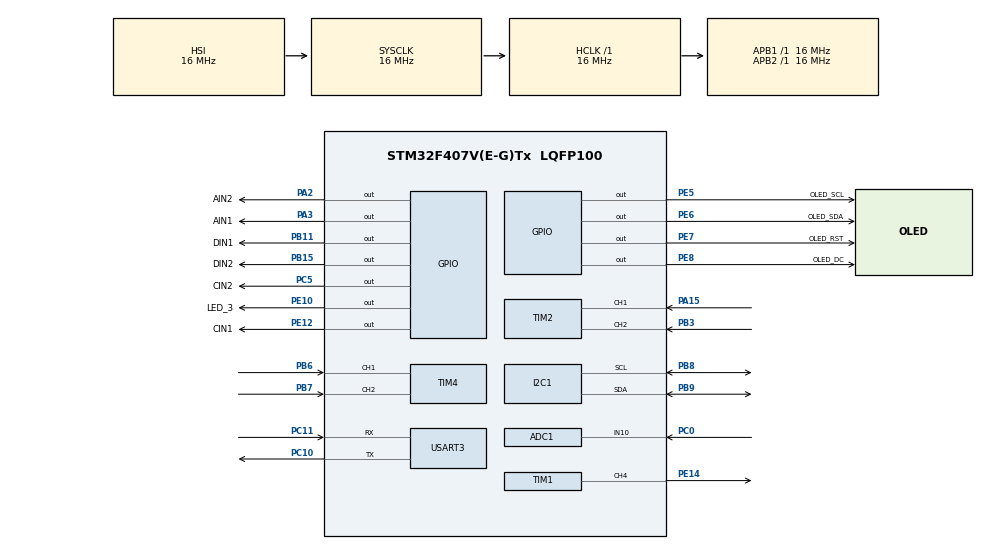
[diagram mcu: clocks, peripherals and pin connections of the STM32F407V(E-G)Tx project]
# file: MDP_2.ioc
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ADC1.Channel-0\#ChannelRegularConversion=ADC_CHANNEL_10
ADC1.NbrOfConversionFlag=1
ADC1.master=1
Dma.ADC1.0.Direction=DMA_PERIPH_TO_MEMORY
Dma.ADC1.0.FIFOMode=DMA_FIFOMODE_DISABLE
Dma.ADC1.0.Instance=DMA2_Stream0
Dma.ADC1.0.MemDataAlignment=DMA_MDATAALIGN_HALFWORD
Dma.ADC1.0.MemInc=DMA_MINC_ENABLE
Dma.ADC1.0.Mode=DMA_NORMAL
Dma.ADC1.0.PeriphDataAlignment=DMA_PDATAALIGN_HALFWORD
Dma.ADC1.0.PeriphInc=DMA_PINC_DISABLE
Dma.ADC1.0.Priority=DMA_PRIORITY_LOW
Dma.Request0=ADC1
FREERTOS.Tasks01=defaultTask,24,128,StartDefaultTask,Default,NULL,Dynamic,NULL,NULL;MotorTask,8,128,motors,Default,NULL,Dynamic,NULL,NULL;Show,8,128,show,Default,NULL,Dynamic,NULL,NULL;imu_task,8,128,Imu_Task,Default,NULL,Dynamic,NULL,NULL;pidTask,8,128,PidTask,Default,NULL,Dynamic,NULL,NULL;encoderTask,8,128,EncoderTask,Default,NULL,Dynamic,NULL,NULL;steeringTask,8,128,SteeringTask,Default,NULL,Dynamic,NULL,NULL
Mcu.Family=STM32F4
Mcu.Name=STM32F407V(E-G)Tx
Mcu.Package=LQFP100
NVIC.DMA2_Stream0_IRQn=true\:5\:0\:false\:false\:true\:true\:false\:true\:true
NVIC.PriorityGroup=NVIC_PRIORITYGROUP_4
NVIC.USART3_IRQn=true\:5\:0\:false\:false\:true\:true\:true\:true\:true
PA15.Signal=S_TIM2_CH1_ETR
PA2.GPIO_Label=AIN2
PA2.GPIO_Speed=GPIO_SPEED_FREQ_HIGH
PA2.PinState=GPIO_PIN_RESET
PA2.Signal=GPIO_Output
PA3.GPIO_Label=AIN1
PA3.GPIO_Speed=GPIO_SPEED_FREQ_HIGH
PA3.Signal=GPIO_Output
PB11.GPIO_Label=DIN1
PB11.GPIO_Speed=GPIO_SPEED_FREQ_HIGH
PB11.PinState=GPIO_PIN_RESET
PB11.Signal=GPIO_Output
PB15.GPIO_Label=DIN2
PB15.GPIO_Speed=GPIO_SPEED_FREQ_HIGH
PB15.Signal=GPIO_Output
PB3.Signal=S_TIM2_CH2
PB6.Signal=S_TIM4_CH1
PB7.Signal=S_TIM4_CH2
PB8.Mode=I2C
PB8.Signal=I2C1_SCL
PB9.Mode=I2C
PB9.Signal=I2C1_SDA
PC0.Signal=ADCx_IN10
PC10.Mode=Asynchronous
PC10.Signal=USART3_TX
PC11.Mode=Asynchronous
PC11.Signal=USART3_RX
PC5.GPIO_Label=CIN2
PC5.GPIO_Speed=GPIO_SPEED_FREQ_HIGH
PC5.Signal=GPIO_Output
PC6.GPIO_Label=PWMA
PC6.Signal=S_TIM8_CH1
PC8.GPIO_Label=PWMC
PC8.Signal=S_TIM8_CH3
PC9.GPIO_Label=PWMD
PC9.Signal=S_TIM8_CH4
PE10.GPIO_Label=LED_3
PE10.Signal=GPIO_Output
PE12.GPIO_Label=CIN1
PE12.GPIO_Speed=GPIO_SPEED_FREQ_HIGH
PE12.Signal=GPIO_Output
PE14.Signal=S_TIM1_CH4
PE5.GPIO_Label=OLED_SCL
PE5.Signal=GPIO_Output
PE6.GPIO_Label=OLED_SDA
PE6.Signal=GPIO_Output
PE7.GPIO_Label=OLED_RST
PE7.Signal=GPIO_Output
PE8.GPIO_Label=OLED_DC
PE8.Signal=GPIO_Output
ProjectManager.HeapSize=0x200
ProjectManager.StackSize=0x400
ProjectManager.TargetToolchain=STM32CubeIDE
RCC.AHBFreq_Value=16000000
RCC.APB1Freq_Value=16000000
RCC.APB2Freq_Value=16000000
RCC.CortexFreq_Value=16000000
RCC.HSE_VALUE=25000000
RCC.HSI_VALUE=16000000
RCC.LSE_VALUE=32768
RCC.SYSCLKFreq_VALUE=16000000
RCC.VCOOutputFreq_Value=192000000
SH.ADCx_IN10.0=ADC1_IN10,IN10
SH.S_TIM1_CH4.0=TIM1_CH4,PWM Generation4 CH4
SH.S_TIM2_CH1_ETR.0=TIM2_CH1,Encoder_Interface
SH.S_TIM2_CH2.0=TIM2_CH2,Encoder_Interface
SH.S_TIM4_CH1.0=TIM4_CH1,Encoder_Interface
SH.S_TIM4_CH2.0=TIM4_CH2,Encoder_Interface
SH.S_TIM8_CH1.0=TIM8_CH1
SH.S_TIM8_CH3.0=TIM8_CH3
SH.S_TIM8_CH4.0=TIM8_CH4
TIM1.AutoReloadPreload=TIM_AUTORELOAD_PRELOAD_ENABLE
TIM1.Channel-PWM\ Generation4\ CH4=TIM_CHANNEL_4
TIM1.Period=1000
TIM1.Prescaler=160
TIM2.EncoderMode=TIM_ENCODERMODE_TI12
TIM2.IC1Filter=10
TIM2.IC2Filter=10
TIM4.EncoderMode=TIM_ENCODERMODE_TI12
TIM4.IC1Filter=10
TIM4.IC2Filter=10
TIM8.Channel-PWM\ Generation1\ No\ Output=TIM_CHANNEL_1
TIM8.Channel-PWM\ Generation3\ No\ Output=TIM_CHANNEL_3
TIM8.Channel-PWM\ Generation4\ No\ Output=TIM_CHANNEL_4
TIM8.Period=7199
USART3.VirtualMode=VM_ASYNC
VP_FREERTOS_VS_CMSIS_V2.Mode=CMSIS_V2
VP_TIM8_VS_ClockSourceINT.Mode=Internal
VP_TIM8_VS_no_output1.Mode=PWM Generation1 No Output
VP_TIM8_VS_no_output3.Mode=PWM Generation3 No Output
VP_TIM8_VS_no_output4.Mode=PWM Generation4 No Output
board=custom

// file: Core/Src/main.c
/* USER CODE BEGIN Header */
/**
  ******************************************************************************
  * @file           : main.c
  * @brief          : Main program body
  ******************************************************************************
  * @attention
  *
  * Copyright (c) 2022 STMicroelectronics.
  * All rights reserved.
  *
  * This software is licensed under terms that can be found in the LICENSE file
  * in the root directory of this software component.
  * If no LICENSE file comes with this software, it is provided AS-IS.
  *
  ******************************************************************************
  */
/* USER CODE END Header */
#include "main.h"
#include "math.h"
#include "cmsis_os.h"

/* USER CODE BEGIN Includes */
#include <string.h>

#include "motor.h"

#include "pid.h"
#include "ICM20948.h"
#include "oled.h"
#include "tm_stm32_ahrs_imu.h"

#define SIZE 100
#define ADC_BUF_LEN 2000

// pid var//

#define PID_KP  2.0f
#define PID_KI  0.5f
#define PID_KD  0.25f

#define PID_TAU 0.02f

#define PID_LIM_MIN -2.0f
#define PID_LIM_MAX  2.0f

#define PID_LIM_MIN_INT -5.0f
#define PID_LIM_MAX_INT  5.0f

////////////

/* USER CODE END Includes */

ADC_HandleTypeDef hadc1;
DMA_HandleTypeDef hdma_adc1;

I2C_HandleTypeDef hi2c1;

TIM_HandleTypeDef htim1;
TIM_HandleTypeDef htim2;
TIM_HandleTypeDef htim4;
TIM_HandleTypeDef htim8;

UART_HandleTypeDef huart3;

/* Definitions for defaultTask */
osThreadId_t defaultTaskHandle;
const osThreadAttr_t defaultTask_attributes = {
  .name = "defaultTask",
  .stack_size = 128 * 4,
  .priority = (osPriority_t) osPriorityNormal,
};
/* Definitions for MotorTask */
osThreadId_t MotorTaskHandle;
const osThreadAttr_t MotorTask_attributes = {
  .name = "MotorTask",
  .stack_size = 128 * 4,
  .priority = (osPriority_t) osPriorityLow,
};
/* Definitions for Show */
osThreadId_t ShowHandle;
const osThreadAttr_t Show_attributes = {
  .name = "Show",
  .stack_size = 128 * 4,
  .priority = (osPriority_t) osPriorityLow,
};
/* Definitions for imu_task */
osThreadId_t imu_taskHandle;
const osThreadAttr_t imu_task_attributes = {
  .name = "imu_task",
  .stack_size = 128 * 4,
  .priority = (osPriority_t) osPriorityLow,
};
/* Definitions for pidTask */
osThreadId_t pidTaskHandle;
const osThreadAttr_t pidTask_attributes = {
  .name = "pidTask",
  .stack_size = 128 * 4,
  .priority = (osPriority_t) osPriorityLow,
};
/* Definitions for encoderTask */
osThreadId_t encoderTaskHandle;
const osThreadAttr_t encoderTask_attributes = {
  .name = "encoderTask",
  .stack_size = 128 * 4,
  .priority = (osPriority_t) osPriorityLow,
};
/* Definitions for steeringTask */
osThreadId_t steeringTaskHandle;
const osThreadAttr_t steeringTask_attributes = {
  .name = "steeringTask",
  .stack_size = 128 * 4,
  .priority = (osPriority_t) osPriorityLow,
};

void SystemClock_Config(void);
static void MX_GPIO_Init(void);
static void MX_DMA_Init(void);
static void MX_TIM8_Init(void);
static void MX_TIM2_Init(void);
static void MX_USART3_UART_Init(void);
static void MX_TIM1_Init(void);
static void MX_TIM4_Init(void);
static void MX_I2C1_Init(void);
static void MX_ADC1_Init(void);
void StartDefaultTask(void *argument);
void motors(void *argument);
void show(void *argument);
void Imu_Task(void *argument);
void PidTask(void *argument);
void EncoderTask(void *argument);
void SteeringTask(void *argument);

/* USER CODE BEGIN PFP */
void motor_A_init(void);
void motor_B_init(void);

//void enQueue(move_order);
//move_order deQueue();
//void display();

/* USER CODE END PFP */

/* USER CODE BEGIN 0 */

uint8_t aRxBuffer[20];
uint8_t encoderA_val;
uint8_t encoderC_val ;
uint8_t encoderA_dir;
uint8_t encoderC_dir;

uint16_t motorA_pwm_val;
uint16_t motorC_pwm_val;

ICM20948 imu;

uint32_t icmDelay;

uint8_t batteryCounter, irCounter, ultraCounter, yawCounter;

uint8_t uart_buf[20] = "\0";

uint16_t ir_dist[2000];

int cnt1=0, cnt2=0,diff=0;

char current_wheel_dir = 'C';
int wheel_ccr_val = 150;

int update_encoder_start = 0;

int motors_being_updated = 0;

int moving = 0;

int center_val = 150;

float current_global_yaw = 0;

float ir_distance=0.0;

int mantain_heading = 0;
int mantain_heading_dir = 0; //0 forward, 1 backwards
int first_mantain_heading_update = 1; // 1 for true 0 for false

double prev_accel_x=0,prev_accel_y=0,prev_accel_z=0;
double cart_x=0,cart_y=0,cart_z=0;

float pid_control_val;

int tick_dur;
int imu_delay=0;

float beta, inclination, prevYaw, yawVal[5], yawDiff, yawDir[4], yawThreshold;

typedef struct{
	   char  speed;
	   char  dir;
	   int   steps;
}move_order;

TM_AHRSIMU_t imu1;

/* USER CODE END 0 */

int main(void)
{
  /* USER CODE BEGIN 1 */
	motorA_pwm_val =100;
	motorC_pwm_val =100;

	encoderA_val=0;
	encoderC_val=0;
	encoderA_dir=0;
	encoderC_dir=0;

	motorA_pwm_val=0;
	motorC_pwm_val=0;
  /* USER CODE END 1 */

  /* MCU Configuration--------------------------------------------------------*/

  /* Reset of all peripherals, Initializes the Flash interface and the Systick. */
  HAL_Init();

  /* Configure the system clock */
  SystemClock_Config();

  /* Initialize all configured peripherals */
  MX_GPIO_Init();
  MX_DMA_Init();
  MX_TIM8_Init();
  MX_TIM2_Init();
  MX_USART3_UART_Init();
  MX_TIM1_Init();
  MX_TIM4_Init();
  MX_I2C1_Init();
  MX_ADC1_Init();
  /* USER CODE BEGIN 2 */
  OLED_Init();

  HAL_UART_Receive_IT(&huart3,(uint8_t *) aRxBuffer, 10);

  HAL_UART_Transmit_IT(&huart3,(uint8_t *) aRxBuffer, 10);

  uint8_t status = IMU_Initialise(&imu, &hi2c1, &huart3);

    beta = 0.2;
    inclination = 0;
    prevYaw = -1;
    yawDir[0] = 85; //North
    yawDir[1] = 4; //East
    yawDir[2] = 237; //South
    yawDir[3] = 154; //West
    yawThreshold = 5;

    icmDelay = 7;

  /* USER CODE END 2 */

  /* Init scheduler */
  osKernelInitialize();

  /* Create the thread(s) */
  /* creation of defaultTask */
  defaultTaskHandle = osThreadNew(StartDefaultTask, NULL, &defaultTask_attributes);

  /* creation of MotorTask */
  MotorTaskHandle = osThreadNew(motors, NULL, &MotorTask_attributes);

  /* creation of Show */
  ShowHandle = osThreadNew(show, NULL, &Show_attributes);

  /* creation of imu_task */
  imu_taskHandle = osThreadNew(Imu_Task, NULL, &imu_task_attributes);

  /* creation of pidTask */
  pidTaskHandle = osThreadNew(PidTask, NULL, &pidTask_attributes);

  /* creation of encoderTask */
  encoderTaskHandle = osThreadNew(EncoderTask, NULL, &encoderTask_attributes);

  /* creation of steeringTask */
  steeringTaskHandle = osThreadNew(SteeringTask, NULL, &steeringTask_attributes);

  /* Start scheduler */
  osKernelStart();

  /* We should never get here as control is now taken by the scheduler */
  /* Infinite loop */
  while (1)
  {

    /* USER CODE BEGIN 3 */

	  // if its blinking the os is broke
	  HAL_GPIO_TogglePin(LED_3_GPIO_Port, LED_3_Pin);
	  HAL_Delay(2000);
  }
  /* USER CODE END 3 */
}

void SystemClock_Config(void)
{
  RCC_OscInitTypeDef RCC_OscInitStruct = {0};
  RCC_ClkInitTypeDef RCC_ClkInitStruct = {0};

  /** Configure the main internal regulator output voltage
  */
  __HAL_RCC_PWR_CLK_ENABLE();
  __HAL_PWR_VOLTAGESCALING_CONFIG(PWR_REGULATOR_VOLTAGE_SCALE1);

  /** Initializes the RCC Oscillators according to the specified parameters
  * in the RCC_OscInitTypeDef structure.
  */
  RCC_OscInitStruct.OscillatorType = RCC_OSCILLATORTYPE_HSI;
  RCC_OscInitStruct.HSIState = RCC_HSI_ON;
  RCC_OscInitStruct.HSICalibrationValue = RCC_HSICALIBRATION_DEFAULT;
  RCC_OscInitStruct.PLL.PLLState = RCC_PLL_NONE;
  if (HAL_RCC_OscConfig(&RCC_OscInitStruct) != HAL_OK)
  {
    Error_Handler();
  }

  /** Initializes the CPU, AHB and APB buses clocks
  */
  RCC_ClkInitStruct.ClockType = RCC_CLOCKTYPE_HCLK|RCC_CLOCKTYPE_SYSCLK
                              |RCC_CLOCKTYPE_PCLK1|RCC_CLOCKTYPE_PCLK2;
  RCC_ClkInitStruct.SYSCLKSource = RCC_SYSCLKSOURCE_HSI;
  RCC_ClkInitStruct.AHBCLKDivider = RCC_SYSCLK_DIV1;
  RCC_ClkInitStruct.APB1CLKDivider = RCC_HCLK_DIV1;
  RCC_ClkInitStruct.APB2CLKDivider = RCC_HCLK_DIV1;

  if (HAL_RCC_ClockConfig(&RCC_ClkInitStruct, FLASH_LATENCY_0) != HAL_OK)
  {
    Error_Handler();
  }
}

static void MX_ADC1_Init(void)
{

  ADC_ChannelConfTypeDef sConfig = {0};

  /** Configure the global features of the ADC (Clock, Resolution, Data Alignment and number of conversion)
  */
  hadc1.Instance = ADC1;
  hadc1.Init.ClockPrescaler = ADC_CLOCK_SYNC_PCLK_DIV2;
  hadc1.Init.Resolution = ADC_RESOLUTION_12B;
  hadc1.Init.ScanConvMode = DISABLE;
  hadc1.Init.ContinuousConvMode = ENABLE;
  hadc1.Init.DiscontinuousConvMode = DISABLE;
  hadc1.Init.ExternalTrigConvEdge = ADC_EXTERNALTRIGCONVEDGE_NONE;
  hadc1.Init.ExternalTrigConv = ADC_SOFTWARE_START;
  hadc1.Init.DataAlign = ADC_DATAALIGN_RIGHT;
  hadc1.Init.NbrOfConversion = 1;
  hadc1.Init.DMAContinuousRequests = DISABLE;
  hadc1.Init.EOCSelection = ADC_EOC_SINGLE_CONV;
  if (HAL_ADC_Init(&hadc1) != HAL_OK)
  {
    Error_Handler();
  }

  /** Configure for the selected ADC regular channel its corresponding rank in the sequencer and its sample time.
  */
  sConfig.Channel = ADC_CHANNEL_10;
  sConfig.Rank = 1;
  sConfig.SamplingTime = ADC_SAMPLETIME_3CYCLES;
  if (HAL_ADC_ConfigChannel(&hadc1, &sConfig) != HAL_OK)
  {
    Error_Handler();
  }

}

static void MX_I2C1_Init(void)
{

  hi2c1.Instance = I2C1;
  hi2c1.Init.ClockSpeed = 100000;
  hi2c1.Init.DutyCycle = I2C_DUTYCYCLE_2;
  hi2c1.Init.OwnAddress1 = 0;
  hi2c1.Init.AddressingMode = I2C_ADDRESSINGMODE_7BIT;
  hi2c1.Init.DualAddressMode = I2C_DUALADDRESS_DISABLE;
  hi2c1.Init.OwnAddress2 = 0;
  hi2c1.Init.GeneralCallMode = I2C_GENERALCALL_DISABLE;
  hi2c1.Init.NoStretchMode = I2C_NOSTRETCH_DISABLE;
  if (HAL_I2C_Init(&hi2c1) != HAL_OK)
  {
    Error_Handler();
  }

}

static void MX_TIM1_Init(void)
{

  TIM_MasterConfigTypeDef sMasterConfig = {0};
  TIM_OC_InitTypeDef sConfigOC = {0};
  TIM_BreakDeadTimeConfigTypeDef sBreakDeadTimeConfig = {0};

  htim1.Instance = TIM1;
  htim1.Init.Prescaler = 160;
  htim1.Init.CounterMode = TIM_COUNTERMODE_UP;
  htim1.Init.Period = 1000;
  htim1.Init.ClockDivision = TIM_CLOCKDIVISION_DIV1;
  htim1.Init.RepetitionCounter = 0;
  htim1.Init.AutoReloadPreload = TIM_AUTORELOAD_PRELOAD_ENABLE;
  if (HAL_TIM_PWM_Init(&htim1) != HAL_OK)
  {
    Error_Handler();
  }
  sMasterConfig.MasterOutputTrigger = TIM_TRGO_RESET;
  sMasterConfig.MasterSlaveMode = TIM_MASTERSLAVEMODE_DISABLE;
  if (HAL_TIMEx_MasterConfigSynchronization(&htim1, &sMasterConfig) != HAL_OK)
  {
    Error_Handler();
  }
  sConfigOC.OCMode = TIM_OCMODE_PWM1;
  sConfigOC.Pulse = 0;
  sConfigOC.OCPolarity = TIM_OCPOLARITY_HIGH;
  sConfigOC.OCFastMode = TIM_OCFAST_DISABLE;
  sConfigOC.OCIdleState = TIM_OCIDLESTATE_RESET;
  sConfigOC.OCNIdleState = TIM_OCNIDLESTATE_RESET;
  if (HAL_TIM_PWM_ConfigChannel(&htim1, &sConfigOC, TIM_CHANNEL_4) != HAL_OK)
  {
    Error_Handler();
  }
  sBreakDeadTimeConfig.OffStateRunMode = TIM_OSSR_DISABLE;
  sBreakDeadTimeConfig.OffStateIDLEMode = TIM_OSSI_DISABLE;
  sBreakDeadTimeConfig.LockLevel = TIM_LOCKLEVEL_OFF;
  sBreakDeadTimeConfig.DeadTime = 0;
  sBreakDeadTimeConfig.BreakState = TIM_BREAK_DISABLE;
  sBreakDeadTimeConfig.BreakPolarity = TIM_BREAKPOLARITY_HIGH;
  sBreakDeadTimeConfig.AutomaticOutput = TIM_AUTOMATICOUTPUT_DISABLE;
  if (HAL_TIMEx_ConfigBreakDeadTime(&htim1, &sBreakDeadTimeConfig) != HAL_OK)
  {
    Error_Handler();
  }
  HAL_TIM_MspPostInit(&htim1);

}

static void MX_TIM2_Init(void)
{

  TIM_Encoder_InitTypeDef sConfig = {0};
  TIM_MasterConfigTypeDef sMasterConfig = {0};

  htim2.Instance = TIM2;
  htim2.Init.Prescaler = 0;
  htim2.Init.CounterMode = TIM_COUNTERMODE_UP;
  htim2.Init.Period = 4294967295;
  htim2.Init.ClockDivision = TIM_CLOCKDIVISION_DIV1;
  htim2.Init.AutoReloadPreload = TIM_AUTORELOAD_PRELOAD_DISABLE;
  sConfig.EncoderMode = TIM_ENCODERMODE_TI12;
  sConfig.IC1Polarity = TIM_ICPOLARITY_RISING;
  sConfig.IC1Selection = TIM_ICSELECTION_DIRECTTI;
  sConfig.IC1Prescaler = TIM_ICPSC_DIV1;
  sConfig.IC1Filter = 10;
  sConfig.IC2Polarity = TIM_ICPOLARITY_RISING;
  sConfig.IC2Selection = TIM_ICSELECTION_DIRECTTI;
  sConfig.IC2Prescaler = TIM_ICPSC_DIV1;
  sConfig.IC2Filter = 10;
  if (HAL_TIM_Encoder_Init(&htim2, &sConfig) != HAL_OK)
  {
    Error_Handler();
  }
  sMasterConfig.MasterOutputTrigger = TIM_TRGO_RESET;
  sMasterConfig.MasterSlaveMode = TIM_MASTERSLAVEMODE_DISABLE;
  if (HAL_TIMEx_MasterConfigSynchronization(&htim2, &sMasterConfig) != HAL_OK)
  {
    Error_Handler();
  }

}

static void MX_TIM4_Init(void)
{

  TIM_Encoder_InitTypeDef sConfig = {0};
  TIM_MasterConfigTypeDef sMasterConfig = {0};

  htim4.Instance = TIM4;
  htim4.Init.Prescaler = 0;
  htim4.Init.CounterMode = TIM_COUNTERMODE_UP;
  htim4.Init.Period = 65535;
  htim4.Init.ClockDivision = TIM_CLOCKDIVISION_DIV1;
  htim4.Init.AutoReloadPreload = TIM_AUTORELOAD_PRELOAD_DISABLE;
  sConfig.EncoderMode = TIM_ENCODERMODE_TI12;
  sConfig.IC1Polarity = TIM_ICPOLARITY_RISING;
  sConfig.IC1Selection = TIM_ICSELECTION_DIRECTTI;
  sConfig.IC1Prescaler = TIM_ICPSC_DIV1;
  sConfig.IC1Filter = 10;
  sConfig.IC2Polarity = TIM_ICPOLARITY_RISING;
  sConfig.IC2Selection = TIM_ICSELECTION_DIRECTTI;
  sConfig.IC2Prescaler = TIM_ICPSC_DIV1;
  sConfig.IC2Filter = 10;
  if (HAL_TIM_Encoder_Init(&htim4, &sConfig) != HAL_OK)
  {
    Error_Handler();
  }
  sMasterConfig.MasterOutputTrigger = TIM_TRGO_RESET;
  sMasterConfig.MasterSlaveMode = TIM_MASTERSLAVEMODE_DISABLE;
  if (HAL_TIMEx_MasterConfigSynchronization(&htim4, &sMasterConfig) != HAL_OK)
  {
    Error_Handler();
  }

}

static void MX_TIM8_Init(void)
{

  TIM_ClockConfigTypeDef sClockSourceConfig = {0};
  TIM_MasterConfigTypeDef sMasterConfig = {0};
  TIM_OC_InitTypeDef sConfigOC = {0};
  TIM_BreakDeadTimeConfigTypeDef sBreakDeadTimeConfig = {0};

  htim8.Instance = TIM8;
  htim8.Init.Prescaler = 0;
  htim8.Init.CounterMode = TIM_COUNTERMODE_UP;
  htim8.Init.Period = 7199;
  htim8.Init.ClockDivision = TIM_CLOCKDIVISION_DIV1;
  htim8.Init.RepetitionCounter = 0;
  htim8.Init.AutoReloadPreload = TIM_AUTORELOAD_PRELOAD_DISABLE;
  if (HAL_TIM_Base_Init(&htim8) != HAL_OK)
  {
    Error_Handler();
  }
  sClockSourceConfig.ClockSource = TIM_CLOCKSOURCE_INTERNAL;
  if (HAL_TIM_ConfigClockSource(&htim8, &sClockSourceConfig) != HAL_OK)
  {
    Error_Handler();
  }
  if (HAL_TIM_PWM_Init(&htim8) != HAL_OK)
  {
    Error_Handler();
  }
  sMasterConfig.MasterOutputTrigger = TIM_TRGO_RESET;
  sMasterConfig.MasterSlaveMode = TIM_MASTERSLAVEMODE_DISABLE;
  if (HAL_TIMEx_MasterConfigSynchronization(&htim8, &sMasterConfig) != HAL_OK)
  {
    Error_Handler();
  }
  sConfigOC.OCMode = TIM_OCMODE_PWM1;
  sConfigOC.Pulse = 0;
  sConfigOC.OCPolarity = TIM_OCPOLARITY_HIGH;
  sConfigOC.OCNPolarity = TIM_OCNPOLARITY_HIGH;
  sConfigOC.OCFastMode = TIM_OCFAST_DISABLE;
  sConfigOC.OCIdleState = TIM_OCIDLESTATE_RESET;
  sConfigOC.OCNIdleState = TIM_OCNIDLESTATE_RESET;
  if (HAL_TIM_PWM_ConfigChannel(&htim8, &sConfigOC, TIM_CHANNEL_1) != HAL_OK)
  {
    Error_Handler();
  }
  if (HAL_TIM_PWM_ConfigChannel(&htim8, &sConfigOC, TIM_CHANNEL_3) != HAL_OK)
  {
    Error_Handler();
  }
  if (HAL_TIM_PWM_ConfigChannel(&htim8, &sConfigOC, TIM_CHANNEL_4) != HAL_OK)
  {
    Error_Handler();
  }
  sBreakDeadTimeConfig.OffStateRunMode = TIM_OSSR_DISABLE;
  sBreakDeadTimeConfig.OffStateIDLEMode = TIM_OSSI_DISABLE;
  sBreakDeadTimeConfig.LockLevel = TIM_LOCKLEVEL_OFF;
  sBreakDeadTimeConfig.DeadTime = 0;
  sBreakDeadTimeConfig.BreakState = TIM_BREAK_DISABLE;
  sBreakDeadTimeConfig.BreakPolarity = TIM_BREAKPOLARITY_HIGH;
  sBreakDeadTimeConfig.AutomaticOutput = TIM_AUTOMATICOUTPUT_DISABLE;
  if (HAL_TIMEx_ConfigBreakDeadTime(&htim8, &sBreakDeadTimeConfig) != HAL_OK)
  {
    Error_Handler();
  }

}

static void MX_USART3_UART_Init(void)
{

  huart3.Instance = USART3;
  huart3.Init.BaudRate = 115200;
  huart3.Init.WordLength = UART_WORDLENGTH_8B;
  huart3.Init.StopBits = UART_STOPBITS_1;
  huart3.Init.Parity = UART_PARITY_NONE;
  huart3.Init.Mode = UART_MODE_TX_RX;
  huart3.Init.HwFlowCtl = UART_HWCONTROL_NONE;
  huart3.Init.OverSampling = UART_OVERSAMPLING_16;
  if (HAL_UART_Init(&huart3) != HAL_OK)
  {
    Error_Handler();
  }

}

static void MX_DMA_Init(void)
{

  /* DMA controller clock enable */
  __HAL_RCC_DMA2_CLK_ENABLE();

  /* DMA interrupt init */
  /* DMA2_Stream0_IRQn interrupt configuration */
  HAL_NVIC_SetPriority(DMA2_Stream0_IRQn, 5, 0);
  HAL_NVIC_EnableIRQ(DMA2_Stream0_IRQn);

}

static void MX_GPIO_Init(void)
{
  GPIO_InitTypeDef GPIO_InitStruct = {0};

  /* GPIO Ports Clock Enable */
  __HAL_RCC_GPIOE_CLK_ENABLE();
  __HAL_RCC_GPIOA_CLK_ENABLE();
  __HAL_RCC_GPIOC_CLK_ENABLE();
  __HAL_RCC_GPIOB_CLK_ENABLE();

  /*Configure GPIO pin Output Level */
  HAL_GPIO_WritePin(GPIOE, OLED_SCL_Pin|OLED_SDA_Pin|OLED_RST_Pin|OLED_DC_Pin
                          |LED_3_Pin|CIN1_Pin, GPIO_PIN_RESET);

  /*Configure GPIO pin Output Level */
  HAL_GPIO_WritePin(GPIOA, AIN2_Pin|AIN1_Pin, GPIO_PIN_RESET);

  /*Configure GPIO pin Output Level */
  HAL_GPIO_WritePin(CIN2_GPIO_Port, CIN2_Pin, GPIO_PIN_RESET);

  /*Configure GPIO pin Output Level */
  HAL_GPIO_WritePin(GPIOB, DIN1_Pin|DIN2_Pin, GPIO_PIN_RESET);

  /*Configure GPIO pins : OLED_SCL_Pin OLED_SDA_Pin OLED_RST_Pin OLED_DC_Pin
                           LED_3_Pin */
  GPIO_InitStruct.Pin = OLED_SCL_Pin|OLED_SDA_Pin|OLED_RST_Pin|OLED_DC_Pin
                          |LED_3_Pin;
  GPIO_InitStruct.Mode = GPIO_MODE_OUTPUT_PP;
  GPIO_InitStruct.Pull = GPIO_NOPULL;
  GPIO_InitStruct.Speed = GPIO_SPEED_FREQ_LOW;
  HAL_GPIO_Init(GPIOE, &GPIO_InitStruct);

  /*Configure GPIO pins : AIN2_Pin AIN1_Pin */
  GPIO_InitStruct.Pin = AIN2_Pin|AIN1_Pin;
  GPIO_InitStruct.Mode = GPIO_MODE_OUTPUT_PP;
  GPIO_InitStruct.Pull = GPIO_NOPULL;
  GPIO_InitStruct.Speed = GPIO_SPEED_FREQ_HIGH;
  HAL_GPIO_Init(GPIOA, &GPIO_InitStruct);

  /*Configure GPIO pin : CIN2_Pin */
  GPIO_InitStruct.Pin = CIN2_Pin;
  GPIO_InitStruct.Mode = GPIO_MODE_OUTPUT_PP;
  GPIO_InitStruct.Pull = GPIO_NOPULL;
  GPIO_InitStruct.Speed = GPIO_SPEED_FREQ_HIGH;
  HAL_GPIO_Init(CIN2_GPIO_Port, &GPIO_InitStruct);

  /*Configure GPIO pin : CIN1_Pin */
  GPIO_InitStruct.Pin = CIN1_Pin;
  GPIO_InitStruct.Mode = GPIO_MODE_OUTPUT_PP;
  GPIO_InitStruct.Pull = GPIO_NOPULL;
  GPIO_InitStruct.Speed = GPIO_SPEED_FREQ_HIGH;
  HAL_GPIO_Init(CIN1_GPIO_Port, &GPIO_InitStruct);

  /*Configure GPIO pins : DIN1_Pin DIN2_Pin */
  GPIO_InitStruct.Pin = DIN1_Pin|DIN2_Pin;
  GPIO_InitStruct.Mode = GPIO_MODE_OUTPUT_PP;
  GPIO_InitStruct.Pull = GPIO_NOPULL;
  GPIO_InitStruct.Speed = GPIO_SPEED_FREQ_HIGH;
  HAL_GPIO_Init(GPIOB, &GPIO_InitStruct);

}

/* USER CODE BEGIN 4 */

void HAL_UART_RxCpltCallback(UART_HandleTypeDef *huart){
	// Prevent unused arguments(s) compilation warning
	UNUSED(huart);

	sprintf(uart_buf,aRxBuffer);

	add_item_to_queue();

	aRxBuffer[0] = '/0';

//	HAL_UART_Transmit(&huart3,(uint8_t *) aRxBuffer,10, 0xFFFF);

	HAL_UART_Receive_IT(&huart3,(uint8_t *) aRxBuffer, 10);

}

void HAL_ADC_ConvCpltCallback(ADC_HandleTypeDef* hadc)
{
  uint8_t print_out[20], pdone[6];
  double ir_vol = 0;
  double y_over_a, a, one_over_b, b; // refer to everything stm32 for what these values are
  a = 15.20428;
  b = -0.8242363;
  one_over_b = 1/b;

  for (int i=0; i<ADC_BUF_LEN; i++)
  {
    ir_vol += ir_dist[i];
  }

  //  average of ADC_BUF_LEN readings in mili-volts
  ir_vol /= ADC_BUF_LEN;
  ir_vol /= 1000.0;
  y_over_a = ir_vol/a;
  // ir voltage to distance formula, power law
  ir_distance = pow(y_over_a, one_over_b);
  sprintf(print_out, "IR dist: %4d\0", (int)ir_distance);
//  OLED_ShowString(10, 30, print_out);
}

/* USER CODE END 4 */

void StartDefaultTask(void *argument)
{
  /* USER CODE BEGIN 5 */
  uint8_t ch = 'A';
  /* Infinite loop */
  for(;;)
  {
//	HAL_UART_Transmit(&huart3,(uint8_t *)&ch,1,0xFFFF);

	if(ch<'Z')
		ch++;
	else
		ch = 'A';
	HAL_GPIO_TogglePin(LED_3_GPIO_Port, LED_3_Pin);

    osDelay(5000);
  }
  /* USER CODE END 5 */
}

/////////////////////////////////////////////////////////////////////////////////////////////////////////

int front = -1, rear = -1;
move_order items[SIZE];

void enQueue(move_order the_move_order) {
  if (rear == SIZE - 1)
    printf("\nQueue is Full!!");
  else {
    if (front == -1)
      front = 0;
    rear++;
    items[rear] = the_move_order;
    printf("\nInserted -> [%c, %d]", the_move_order.dir,the_move_order.steps);
  }
}

move_order deQueue(void) {
  int old_front;
  if (front == -1){

    printf("\nQueue is Empty!!");
    move_order empty_move_order;
    empty_move_order.dir = 'S';
    empty_move_order.steps = 0;
    empty_move_order.speed = 'S';

    return empty_move_order;
  }
  else {
    printf("\nDeleted : [%c, %d]", items[front].dir,items[front].steps);
    old_front = front;

    front++;
    if (front > rear){
      front = rear = -1;
    }

    return(items[old_front]);
  }
}

int itemInQueue(void){
  if (front == -1){
	  return 0;
  }
  else{
	  return 1;
  }
}

// Function to print the queue
void display() {
  if (rear == -1)
    printf("\nQueue is Empty!!!");
  else {
    int i;
    printf("\nQueue elements are:\n");
    for (i = front; i <= rear; i++){

        printf("item %d : -> [%c, %d]",i, items[i].dir,items[i].steps);
    }
  }
  printf("\n");
}

/////////////////////////////////////////////////////////////////////////////////////////////////////////

void motor_A_init(void){
	HAL_TIM_PWM_Start(&htim8, TIM_CHANNEL_1);
}

void motor_C_init(void){
	HAL_TIM_PWM_Start(&htim8, TIM_CHANNEL_3);
}

void steering_init(void){
	HAL_TIM_PWM_Start(&htim1,TIM_CHANNEL_4);
}

void init_motors(void){
	motor_A_init();
	motor_C_init();
	steering_init();
}

void set_A_clockwise(void){
	HAL_GPIO_WritePin(GPIOA,AIN2_Pin,GPIO_PIN_SET);
	HAL_GPIO_WritePin(GPIOA,AIN1_Pin,GPIO_PIN_RESET);
}

void set_A_anticlockwise(void){
	HAL_GPIO_WritePin(GPIOA,AIN1_Pin,GPIO_PIN_SET);
	HAL_GPIO_WritePin(GPIOA,AIN2_Pin,GPIO_PIN_RESET);
}

void set_C_anticlockwise(void){
	HAL_GPIO_WritePin(GPIOC,CIN2_Pin,GPIO_PIN_SET);
	HAL_GPIO_WritePin(GPIOE,CIN1_Pin,GPIO_PIN_RESET);
}

void set_C_clockwise(void){
	HAL_GPIO_WritePin(GPIOE,CIN1_Pin,GPIO_PIN_SET);
	HAL_GPIO_WritePin(GPIOC,CIN2_Pin,GPIO_PIN_RESET);
}

void set_A_pwm(int16_t speed){
	__HAL_TIM_SetCompare(&htim8,TIM_CHANNEL_1,speed);
}

void set_C_pwm(int16_t speed){
	__HAL_TIM_SetCompare(&htim8,TIM_CHANNEL_3,speed);
}

void move_forward(int16_t speed){
	mantain_heading_dir = 0;
	moving = 1;

	set_A_clockwise();
	set_C_anticlockwise();

	set_A_pwm(speed);
	set_C_pwm(speed);
}

void move_backward(int16_t speed){
	mantain_heading_dir = 1;
	moving =1;

	set_C_clockwise();
	set_A_anticlockwise();

	set_A_pwm(speed);
	set_C_pwm(speed);
}

void move_tank_turn(void){
	htim1.Instance->CCR4 = 190 ; //Extreme right 176
	set_C_clockwise();
	set_A_clockwise();

	set_A_pwm(7199);
	set_C_pwm(7199);
}

void stop_motor(void){

	moving = 0;

	set_A_pwm(0);
	set_C_pwm(0);
}

void steer_left(void){
	mantain_heading = 0;
	int left_val = 95;
	center_val=150;
	htim1.Instance->CCR4 = left_val ; //Extreme right 176

	if(wheel_ccr_val !=left_val){
		osDelay((abs(wheel_ccr_val-left_val))*10);
		wheel_ccr_val = left_val;
	}
	current_wheel_dir = 'L';

}

void steer_right(void){
	mantain_heading = 0;
	int right_val = 220;
	center_val=150;
	htim1.Instance->CCR4 = 220 ; //Extreme right 176

	if(wheel_ccr_val != right_val){
		osDelay((abs(wheel_ccr_val-right_val))*10);
		wheel_ccr_val = right_val;
	}
	current_wheel_dir = 'R';
}

void steer_slightly_right(void){
	mantain_heading = 0;
	mantain_heading_dir = 1;

	htim1.Instance->CCR4 = 190 ; //Extreme right 176
	osDelay(100);

}

void steer_angle(int angle){

	mantain_heading = 1;
	center_val = center_val; // + ((int)pid_control_val)*10 ;
	htim1.Instance->CCR4 = angle ; //Extreme right 176

	if(wheel_ccr_val !=angle){
		osDelay((abs(wheel_ccr_val-angle))*10);
		wheel_ccr_val = angle;
	}
	current_wheel_dir = 'A';
}

void steer_center(void){

	mantain_heading = 1;
	center_val = center_val; // + ((int)pid_control_val)*10 ;
	htim1.Instance->CCR4 = center_val ; //Extreme right 176

	if(wheel_ccr_val !=center_val){
		osDelay((abs(wheel_ccr_val-center_val))*10);
		wheel_ccr_val = center_val;
	}
	current_wheel_dir = 'C';

}

void unit_forward(void){
	steer_center();
	move_forward(7199);
	osDelay(110); // 111 with 1 delay on steering
	stop_motor();
}

void unit_left(void){
	steer_left();
	move_forward(7199);
	osDelay(210);
	stop_motor();
}

void unit_reverse_left(void){
	steer_left();
	move_backward(7199);
	osDelay(210);
	stop_motor();
}

void unit_right(void){
	steer_right();
	move_forward(7199);
	osDelay(210);
	stop_motor();
}

void round_about(void){

	for(;;){
	htim1.Instance->CCR4 = 190 ; //Extreme right 176
	move_forward(2000);

	osDelay(10000);

	stop_motor();

	osDelay(5000);
	}
}

void angle_turn(void){
	int angle =90;
	float angle_dis = 210/45;
	float delay = 100+(angle_dis*angle);
	steer_left();
	move_forward(7199);
	osDelay((int)1422);
	stop_motor();
}

void unit_reverse_right(void){
	steer_right();
	move_backward(7199);
	osDelay(210);
	stop_motor();
}

void unit_reverse(void){
	steer_center();
	move_backward(7199);
	osDelay(210);
	stop_motor();
}

void spot_turn_right(void){
	int i;
	for(i=0;i<3;i++){
		unit_right();
		osDelay(500);
		unit_reverse_left();
		osDelay(500);
	}
	steer_center();
}

void spot_turn_left(void){
	int i;
	for(i=0;i<3;i++){
		unit_left();
		osDelay(500);
		unit_reverse_right();
		osDelay(500);
	}
	steer_center();
}

void add_item_to_queue(void){

	move_order new_move;
	char str_num[10];

	char  speed;
	char  direction;
	int   duration;

	 if(uart_buf[0] =='['){  //1){//itemInQueue()){ // [FC,00500]
//		prev_dir = direction;
		speed = uart_buf[1];
		direction = uart_buf[2];

		for(int i=0;i<5;i++){
			str_num[i] = uart_buf[4+i];
			str_num[i+1] = '\0';
			duration = atoi(str_num);
		}

		new_move.dir=direction;
		new_move.speed=speed;
		new_move.steps=duration;

		enQueue(new_move);
	 }
	uart_buf[0]='\0';

}

int counter_1 = 0;

int get_current_distance(void){
	int distance;
	distance = (int)(((diff*67)/4752));
	return distance;
}

void update_global_yaw(void){
	current_global_yaw = imu1.Yaw;
}

void custom_stop_delay_angle(int angle_1){

	float initial_yaw =0.0;
	float current_yaw = 0.0;
	float change_in_yaw = 0.0;

	initial_yaw = current_global_yaw;

	for(;;){
		current_yaw = imu1.Yaw;

		change_in_yaw = current_yaw - initial_yaw;

		change_in_yaw = fabsf(change_in_yaw);

		if(change_in_yaw>=120){
			change_in_yaw=360-change_in_yaw;
		}

		if(change_in_yaw>=angle_1){
			return;
		}
		if(change_in_yaw<(3*angle_1/4)){
			set_A_pwm(1500);
			set_C_pwm(1500);
		}
		if(change_in_yaw>=(3*angle_1/4)){
			set_A_pwm(1000);
			set_C_pwm(1000);
		}

		osDelay(100);
	}
	return;

}

void stop_delay_angle(void){

	float initial_yaw =0.0;
	float current_yaw = 0.0;
	float change_in_yaw = 0.0;

	initial_yaw = current_global_yaw;

	for(;;){
		current_yaw = imu1.Yaw;

		change_in_yaw = current_yaw - initial_yaw;

		change_in_yaw = fabsf(change_in_yaw);

		if(change_in_yaw>=120){
			change_in_yaw=360-change_in_yaw;
		}

		if(change_in_yaw>=88){
			return;
		}
		if(change_in_yaw<70){
			set_A_pwm(1500);
			set_C_pwm(1500);
		}
		if(change_in_yaw>=70){
			set_A_pwm(1000);
			set_C_pwm(1000);
		}

		osDelay(100);
	}
	return;

}

void stop_delay(int units){

	int stop_by_distance = 1;
	int stop_by_time = 0;

	int distance = 0;
	int inital_distance=0;
	int change_in_distance =0;

	if(stop_by_time){
		osDelay(units);
		return;
	}
	if(stop_by_distance){
		inital_distance = get_current_distance();
		for(;;){
			distance = get_current_distance();
			change_in_distance = distance - inital_distance;
			change_in_distance = abs(change_in_distance);
			if(change_in_distance>=units){
				return;
			}
			if(units-change_in_distance>30){
				set_A_pwm(3000);
				set_C_pwm(3000);
			}
			if(units-change_in_distance<30){
				set_A_pwm(1500);
				set_C_pwm(1500);
			}

			osDelay(99);
		}
		return;
	}

}

void send_tx(void){
	uint8_t ch = 'D';
	HAL_UART_Transmit(&huart3,(uint8_t *)&ch,1,0x0005);//FFFF);
}

void fix_backward_turning(char direction){

	int distance_2_correct = 0;
	if(direction=='R'){
		distance_2_correct = 10;
	}
	if(direction=='L'){
		distance_2_correct = 10;
	}

	steer_center();
	move_forward(750);

    stop_delay(distance_2_correct);

    stop_motor();

}

void fix_forward_turning(char direction){

	int distance_2_correct = 10;
	if(direction=='R'){
		distance_2_correct = 10;
	}
	if(direction=='L'){
		distance_2_correct = 10;
	}
	steer_center();
	move_backward(1000);

	stop_delay(distance_2_correct);

    stop_motor();

}

void custom_turn(void){

	steer_center();
	move_forward(2000);
	stop_delay(20);
	stop_motor();

	steer_right();
	move_forward(2000);
	custom_stop_delay_angle(45);
	stop_motor();
	osDelay(500);

	steer_left();
	move_forward(2000);
	custom_stop_delay_angle(45);
	stop_motor();

	osDelay(500);

	steer_center();
	move_forward(2000);
	stop_delay(20);
	stop_motor();

}

/////////////////////////////////////////////////////////////////////////////////////////////////////////
void update_motor(void){

	if(motors_being_updated){
		return;
	}
	else{
		motors_being_updated=1;
	}

	char prev_dir = 'F';
	char direction = 'F';
	char speed = 'C';

	int motor_speed = 1500;

	char hello1[20] = "";
	int duration = 1;
    char str_num[10];
    move_order current_move;

     if(itemInQueue()){
    	 current_move = deQueue();
     }
     else{
	 	 motors_being_updated = 0;
    	 return;
     }

	 direction = current_move.dir;
	 speed = current_move.speed;
	 duration = current_move.steps;

	 sprintf(hello1,"MV: %c, %c, %d",speed,direction,duration);
	 OLED_ShowString(10,30,hello1);

	 if(direction != 'C'){
		 update_global_yaw();
	 }

	 switch (direction)
	 {
		case 'L':
			steer_left();
			motor_speed=1500;
			break;
		case 'R':
			steer_right();
			motor_speed=1500;
			break;
		case 'C':
			steer_center();
			motor_speed=3000;
			break;
		case 'A':
			steer_left();
			motor_speed=1500;
			break;
		case 'D':
			steer_right();
			motor_speed=1500;
			break;
		default:
			;
			steer_center();
			break;
	 }

	 switch (speed)
	 {
		case 'F':
			move_forward(motor_speed);
			break;
		case 'B':
			move_backward(motor_speed);
			break;
		case 'S':
			stop_motor();
			break;
		default:
			;
//			stop_motor();
			break;
	 }

	 if(direction == 'C'){
		 stop_delay(duration);
	 }
	 if(direction == 'A'){
		 custom_stop_delay_angle(duration);
	 }
	 if(direction == 'D'){
		 custom_stop_delay_angle(duration);
	 }
	 if(direction == 'R'){
		 stop_delay_angle();
	 }
	 if(direction == 'L'){
		 stop_delay_angle();
	 }
//	 else{
//		 stop_delay_angle();
//	 }

	 stop_motor();
//	 osDelay(500);
//	 if(direction!='C'){
//		 if(speed=='F'){
//			 fix_forward_turning(direction);
//		 }
//		 if(speed=='B'){
//			 fix_backward_turning(direction);
//		 }
//	 }
//

	 mantain_heading = 0;
	 first_mantain_heading_update = 1;

	 send_tx();
	 osDelay(50);
	 motors_being_updated = 0;
}

//void update_cartisan(float accel_x, float accel_y, float accel_z){
//
//	double time_unit = 0.2;
//
//	double add_x,add_y,add_z;
//	double te
//
//}

void motors(void *argument)
{
  /* USER CODE BEGIN motors */

	// DC MOTOR

	init_motors();

	steer_center();

	mantain_heading=0;

////
////	//	move_tank_turn();
////	//	round_about();
////
////	steer_right();
//	move_forward(7199);
////	stop_delay_angle();
//	stop_delay(80);
//	mantain_heading=0;
//	move_tank_turn();
//	stop_delay_angle();
//	stop_delay_angle();
////
//	osDelay(500);
//	stop_motor();
//	steer_center();
//	move_forward(7199);
////	stop_delay_angle();
//	stop_delay(80);

	move_order move_1,move_2;

//	move_1.dir='C';
//	move_1.speed='F';
//	move_1.steps=2000;
//
//	enQueue(move_1);

//
//	move_2.dir='R';
//	move_2.speed='F';
//	move_2.steps=50;
//	enQueue(move_2);
//
//	move_2.dir='C';
//	move_2.speed='F';
//	move_2.steps=10;
//	enQueue(move_2);
//
//	move_2.dir='L';
//	move_2.speed='F';
//	move_2.steps=50;
//	enQueue(move_2);
//
//	move_2.dir='C';
//	move_2.speed='F';
//	move_2.steps=10;
//	enQueue(move_2);
//
//	move_2.dir='L';
//	move_2.speed='F';
//	move_2.steps=50;
//	enQueue(move_2);
//
//	move_2.dir='R';
//	move_2.speed='F';
//	move_2.steps=50;
//	enQueue(move_2);
//
//	move_1.dir='C';
//	move_1.speed='F';
//	move_1.steps=80;
//	enQueue(move_1);

//	for(int q=0;q<10;q++){
//		enQueue(move_1);
//		enQueue(move_2);
//
//	}
//
//	osDelay(5000);
//	custom_turn();

	/* Infinite loop */
	for(;;)
	{

		update_motor();

		osDelay(200);
	}

  /* USER CODE END motors */
}

void show(void *argument)
{
  /* USER CODE BEGIN show */
	uint8_t hello[20] = "Hello World\0";

  int i = 0;

  /* Infinite loop */
  for(;;)
  {
	 i++;

//	uint8_t hello[20] = "Hello World\0";

//	sprintf(hello,"%d, %d",status,i);

	sprintf(hello,"%d, %d",0,i);

    OLED_ShowString(10,10,hello);

//    OLED_ShowString(10,30,uart_buf);
////
//    sprintf(hello,"%s\0",aRxBuffer);
//    OLED_ShowString(10,30,hello);
//    sprintf(aRxBuffer,"\0");

//

//	sprintf(hello,"GyroX:%d\0",(int)(imu1.Roll));
//	OLED_ShowString(10,20,hello);
//	sprintf(hello,"GyroY:%d\0",(int)(imu1.Pitch));
//	OLED_ShowString(10,30,hello);

//	sprintf(hello,"imu:%4d %d\0",(int)(center_val),(int)pid_control_val);
//	OLED_ShowString(10,30,hello);
//
    sprintf(hello,"GyroZ:%.2f\0",(double)(imu1.Yaw));
	OLED_ShowString(10,40,hello);

    sprintf(hello,"imu delay %d %d\0",tick_dur,imu_delay);
    OLED_ShowString(10,50,hello);
//    sprintf(hello,"%s\0",aRxBuffer);
//    OLED_ShowString(10,20,uart_buf);

//    if(hello[0] == '['){
//    move_order temp_move_1;
//
//	temp_move_1.dir = hello[1];
//	temp_move_1.steps = 1;
//	enQueue(temp_move_1);
//    }

//  char temp_steps_str[4];
//
//  move_order temp_move_order;
//  temp_move_order.dir = hello[1];

    // [%c,%d]
//  int i;
//  for(i=0;hello[i]!='\0';i++){
//	  temp_steps_str[i] = hello[i+2];
//  }
//
//  temp_move_order.steps = hello[3];

//
//	sprintf(hello,"EncoderA:%5s\0",0);
//	OLED_ShowString(10,20,hello);
//	sprintf(hello,"EncoderA Dir:%5s\0",encoderC_val);
//	OLED_ShowString(10,30,hello);
//
//	sprintf(hello,"EncoderC:%5s\0",encoderC);
//	OLED_ShowString(10,40,hello);
//	sprintf(hello,"EncoderC Dir:%5s\0",encoderC);
//	OLED_ShowString(10,50,hello);

	OLED_Refresh_Gram();
    osDelay(500);

  }
  /* USER CODE END show */
}

void Imu_Task(void *argument)
{
  /* USER CODE BEGIN Imu_Task */
	  int i = 0;

	  int imu_delay=0;
	  int tick,old_tick;
	  int ticks_left=0;
	  TM_AHRSIMU_Init(&imu1, 1000.0 / 200.0, beta, inclination);

	  tick = HAL_GetTick();
/* Infinite loop */
	for(;;)
	{
		  i++;
		  old_tick = tick;
		  tick = HAL_GetTick();
		  tick_dur = tick-old_tick;
		  imu_delay = 200 - tick_dur;
		  if(imu_delay<0){
			  imu_delay =0;
		  }
		  imu_delay = 3*imu_delay;
		  imu_delay = imu_delay/4;

		  osDelay(194);
//		  for(int i =0;i<97;i++){
//			  tick = HAL_GetTick();
//			  tick_dur = tick-old_tick;
//			  ticks_left = 200 - tick_dur;
//			  if(ticks_left<=0){
//				  break;
//			  }
//			  osDelay(2);
//		  }
	//////////////////////////////////////////////////////////////////////////////////////
		  IMU_AccelRead(&imu);
		  IMU_GyroRead(&imu);

		  // correct gyroscopic drift
//		  imu1.Yaw +=(11/900);

		  TM_AHRSIMU_UpdateAHRS(&imu1, AHRSIMU_DEG2RAD(imu.gyro[0]), AHRSIMU_DEG2RAD(imu.gyro[1]), AHRSIMU_DEG2RAD(imu.gyro[2]), imu.acc[0], imu.acc[1], imu.acc[2], 0.0, 0.0, 0.0);
//		  if(moving){ // recent change
//			  TM_AHRSIMU_UpdateAHRS(&imu1, AHRSIMU_DEG2RAD(imu.gyro[0]), AHRSIMU_DEG2RAD(imu.gyro[1]), AHRSIMU_DEG2RAD(imu.gyro[2]), imu.acc[0], imu.acc[1], imu.acc[2], 0.0, 0.0, 0.0);
//		  }
//		  else{
//			  TM_AHRSIMU_UpdateAHRS(&imu1, AHRSIMU_DEG2RAD(0.0), AHRSIMU_DEG2RAD(0.0), AHRSIMU_DEG2RAD(0.0), imu.acc[0], imu.acc[1], imu.acc[2], 0.0, 0.0, 0.0);
//		  }

	//////////////////////////////////////////////////////////////////////////////////////
	}
  /* USER CODE END Imu_Task */
}

void PidTask(void *argument)
{
  /* USER CODE BEGIN PidTask */

	PID_TypeDef TPID;

	float inital_yaw=0;
	float current_yaw=0;
	float diff_yaw =0;
	int current_angle = 150;

	double Angle, PIDOut, AngleSetpoint;

	double Ku = 1.5, Pu = 3.0;

//	PID(&TPID, &Angle, &PIDOut, &AngleSetpoint, 0.6*(Ku), 2*(0.6*Ku)/Pu, (0.6*Ku)*Pu/8, _PID_P_ON_E, _PID_CD_DIRECT);
	PID(&TPID, &Angle, &PIDOut, &AngleSetpoint, (Ku), 0, 0, _PID_P_ON_E, _PID_CD_DIRECT);

	PID_SetMode(&TPID, _PID_MODE_AUTOMATIC);
	PID_SetSampleTime(&TPID, 100);
	PID_SetOutputLimits(&TPID, -10, 10);
	int tick,old_tick;

//	old_tick = 0;
//	mantain_heading=1;
  /* Infinite loop */
  for(;;)
  {

	  // For ir
//	  HAL_ADC_Start_DMA(&hadc1, (uint32_t *)ir_dist, ADC_BUF_LEN);

//	if(mantain_heading){
//		if(first_mantain_heading_update){
//			current_angle = 150;
//			inital_yaw = imu1.Yaw;
//			AngleSetpoint = imu1.Yaw;
//			first_mantain_heading_update=0;
//		}
//
//		current_yaw = imu1.Yaw;
//		Angle = imu1.Yaw;
//
//		PID_Compute(&TPID);
//
//		diff_yaw = current_yaw - inital_yaw;
//
//		if(mantain_heading_dir){
//			diff_yaw = -diff_yaw;
//		}
//
//
//		if(PIDOut< 0){
//			current_angle=150-(int)(PIDOut*55/30);
//		}
//
//
//		if(PIDOut > 0){
//			current_angle=150-(int)(PIDOut*55/30);
//		}
//
//		steer_angle(current_angle);
//
//
//	  old_tick = tick;
//	  tick = HAL_GetTick();
//	  tick_dur = tick-old_tick;
//
//	}
//

	  osDelay(1000);
  }
  /* USER CODE END PidTask */
}

void EncoderTask(void *argument)
{
  /* USER CODE BEGIN EncoderTask */
	HAL_TIM_Encoder_Start(&htim2,TIM_CHANNEL_ALL);

	uint32_t tick;

	cnt1 = __HAL_TIM_GET_COUNTER(&htim2);
	tick = HAL_GetTick();
	uint8_t hello[20];
	uint16_t dir;
	int distance = 0;

  /* Infinite loop */
  for(;;)
  {
//	if(HAL_GetTick()-tick > 1000L){
//		if(update_encoder_start){
//			cnt1 = __HAL_TIM_GET_COUNTER(&htim2);
//			update_encoder_start=0;
//		}
		cnt2 = __HAL_TIM_GET_COUNTER(&htim2);
		if(__HAL_TIM_IS_TIM_COUNTING_DOWN(&htim2)){

			if(cnt2<cnt1)
				diff = cnt1 - cnt2;
			else
				diff  = (cnt2%265535) + cnt1;
		}
		else{
			if(cnt2>cnt1)
				diff = cnt2 - cnt1;
			else
				diff  = (cnt1%65535) + cnt2;
			}
		distance = (int)(((diff*67)/4752));

		sprintf(hello,"Dis:%5d\0",distance);
		OLED_ShowString(10,20,hello);
		dir = __HAL_TIM_IS_TIM_COUNTING_DOWN(&htim2);
		sprintf(hello,"Dir:%5d\0",dir);
//		OLED_ShowString(10,30,hello);
		//cnt1 = cnt2;//__HAL_TIM_GET_COUNTER(&htim2);
		tick = HAL_GetTick();
		osDelay(200);
//	}
  }

  /* USER CODE END EncoderTask */
}

void SteeringTask(void *argument)
{
  /* USER CODE BEGIN SteeringTask */
  /* Infinite loop */
  float inital_yaw=0;
  float current_yaw=0;
  float diff_yaw =0;
  int current_angle = 150;

  for(;;)
  {
	if(mantain_heading){
//	if(0){
	  if(first_mantain_heading_update){
			current_angle = 150;
			inital_yaw = imu1.Yaw;
			first_mantain_heading_update=0;
		}

		current_yaw = imu1.Yaw;
		diff_yaw = current_yaw - inital_yaw;

		if(mantain_heading_dir){
			diff_yaw = -diff_yaw;
		}

		if(diff_yaw<0){
			if(current_angle>150){
				current_angle=150;
//				current_angle=current_angle-diff_yaw; // recent_change
			}

			current_angle=150+(int)(1.5*diff_yaw);
		}

		if(diff_yaw>0){
			if(current_angle<150){
				current_angle=150;
//				current_angle=current_angle+diff_yaw; // recent_change
			}
			current_angle=150+(int)(1.5*diff_yaw);
		}

		steer_angle(current_angle);

	}

    osDelay(100);
  }
  /* USER CODE END SteeringTask */
}

void Error_Handler(void)
{
  __disable_irq();
  while (1)
  {
  }
}
